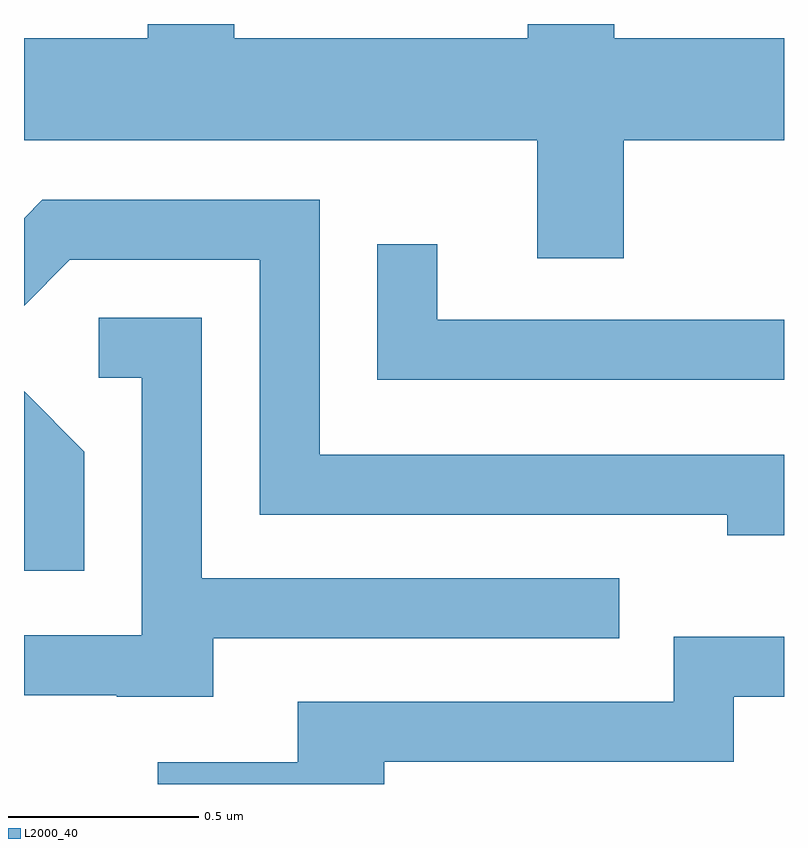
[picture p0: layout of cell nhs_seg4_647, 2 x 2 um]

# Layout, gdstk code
import gdstk
lib = gdstk.Library(unit=1e-6, precision=1e-09)
def P(c, l, *ps):  # polygons
    for p in ps: c.add(gdstk.Polygon(p, *l))
L2000_40 = (2000, 40)

nhs_seg4_647 = lib.new_cell('nhs_seg4_647')
P(nhs_seg4_647, L2000_40, [(191.189,1354.676),(191.611,1354.676),(191.611,1354.944),(191.164,1354.944),(191.164,1354.982),(190.936,1354.982),(190.936,1354.944),(190.164,1354.944),(190.164,1354.982),(189.936,1354.982),(189.936,1354.944),(189.611,1354.944),(189.611,1354.676),(190.961,1354.676),(190.961,1354.366),(191.189,1354.366)],
  [(191.611,1353.849),(190.389,1353.849),(190.389,1354.519),(189.659,1354.519),(189.611,1354.471),(189.611,1354.24),(189.732,1354.361),(190.231,1354.361),(190.231,1353.691),(191.461,1353.691),(191.461,1353.636),(191.611,1353.636)],
  [(191.611,1354.204),(190.699,1354.204),(190.699,1354.403),(190.541,1354.403),(190.541,1354.046),(191.611,1354.046)],
  [(190.109,1353.366),(191.178,1353.366),(191.178,1353.524),(190.079,1353.524),(190.079,1354.209),(189.808,1354.209),(189.808,1354.051),(189.921,1354.051),(189.921,1353.374),(189.611,1353.374),(189.611,1353.216),(189.855,1353.216),(189.855,1353.211),(190.109,1353.211)],
  [(189.769,1353.857),(189.611,1354.015),(189.611,1353.543),(189.769,1353.543)],
  [(190.559,1353.041),(191.479,1353.041),(191.479,1353.211),(191.611,1353.211),(191.611,1353.369),(191.321,1353.369),(191.321,1353.199),(190.331,1353.199),(190.331,1353.039),(189.963,1353.039),(189.963,1352.982),(190.559,1352.982)])

lib.write_gds('nhs_seg4_647.gds')
